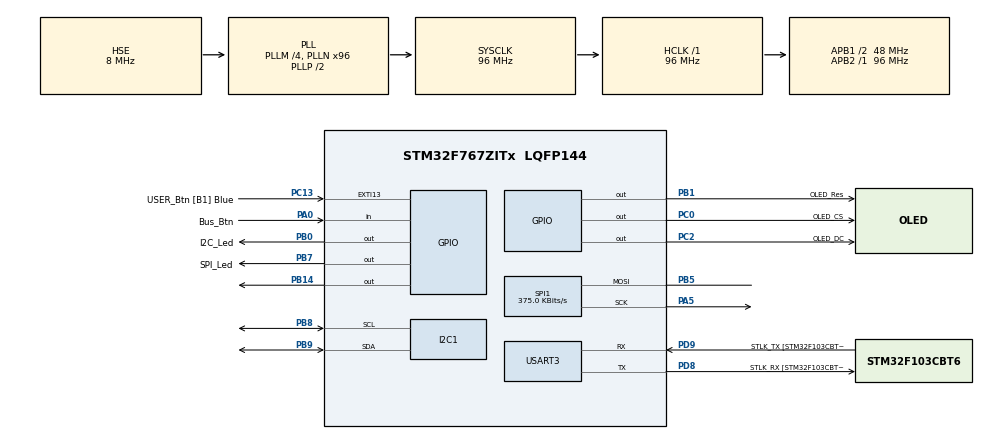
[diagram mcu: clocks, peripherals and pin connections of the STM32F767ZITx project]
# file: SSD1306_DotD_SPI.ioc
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I2C1.Timing=0x20303E5D
Mcu.Family=STM32F7
Mcu.Name=STM32F767ZITx
Mcu.Package=LQFP144
NVIC.PriorityGroup=NVIC_PRIORITYGROUP_4
PA0/WKUP.GPIO_Label=Bus_Btn
PA0/WKUP.Signal=GPIO_Input
PA13.GPIO_Label=TMS
PA13.Signal=SYS_JTMS-SWDIO
PA14.GPIO_Label=TCK
PA14.Signal=SYS_JTCK-SWCLK
PA5.Mode=Simplex_Bidirectional_Master
PA5.Signal=SPI1_SCK
PB0.GPIO_Label=I2C_Led
PB0.Signal=GPIO_Output
PB1.GPIO_Label=OLED_Res
PB1.Signal=GPIO_Output
PB14.Signal=GPIO_Output
PB3.GPIO_Label=SWO
PB3.Signal=SYS_JTDO-SWO
PB5.Mode=Simplex_Bidirectional_Master
PB5.Signal=SPI1_MOSI
PB7.GPIO_Label=SPI_Led
PB7.Signal=GPIO_Output
PB8.GPIO_Pu=GPIO_PULLUP
PB8.Mode=I2C
PB8.Signal=I2C1_SCL
PB9.GPIO_Pu=GPIO_PULLUP
PB9.Mode=I2C
PB9.Signal=I2C1_SDA
PC0.GPIO_Label=OLED_CS
PC0.Signal=GPIO_Output
PC13.GPIO_Label=USER_Btn [B1] Blue
PC13.Signal=GPXTI13
PC14/OSC32_IN.Mode=LSE-External-Oscillator
PC14/OSC32_IN.Signal=RCC_OSC32_IN
PC15/OSC32_OUT.Mode=LSE-External-Oscillator
PC15/OSC32_OUT.Signal=RCC_OSC32_OUT
PC2.GPIO_Label=OLED_DC
PC2.Signal=GPIO_Output
PD8.GPIO_Label=STLK_RX [STM32F103CBT6_PA3]
PD8.Mode=Asynchronous
PD8.Signal=USART3_TX
PD9.GPIO_Label=STLK_TX [STM32F103CBT6_PA2]
PD9.Mode=Asynchronous
PD9.Signal=USART3_RX
PH0/OSC_IN.GPIO_Label=MCO [STM32F103CBT6_PA8]
PH0/OSC_IN.Mode=HSE-External-Clock-Source
PH0/OSC_IN.Signal=RCC_OSC_IN
PH1/OSC_OUT.Mode=HSE-External-Clock-Source
PH1/OSC_OUT.Signal=RCC_OSC_OUT
ProjectManager.HeapSize=0x200
ProjectManager.StackSize=0x400
ProjectManager.TargetToolchain=STM32CubeIDE
RCC.48MHZClocksFreq_Value=24000000
RCC.AHBFreq_Value=96000000
RCC.APB1CLKDivider=RCC_HCLK_DIV2
RCC.APB1Freq_Value=48000000
RCC.APB1TimFreq_Value=96000000
RCC.APB2Freq_Value=96000000
RCC.APB2TimFreq_Value=96000000
RCC.CortexFreq_Value=96000000
RCC.HCLKFreq_Value=96000000
RCC.HSE_VALUE=8000000
RCC.HSI_VALUE=16000000
RCC.PLLM=4
RCC.PLLMUL=RCC_PLL_MUL9
RCC.PLLN=96
RCC.PLLQ=4
RCC.PLLSourceVirtual=RCC_PLLSOURCE_HSE
RCC.PRESCALERUSB=RCC_USBCLKSOURCE_PLL_DIV1_5
RCC.SYSCLKFreq_VALUE=96000000
RCC.SYSCLKSource=RCC_SYSCLKSOURCE_PLLCLK
RCC.SYSCLKSourceVirtual=RCC_SYSCLKSOURCE_PLLCLK
RCC.USBFreq_Value=48000000
RCC.VCOOutputFreq_Value=192000000
SPI1.BaudRatePrescaler=SPI_BAUDRATEPRESCALER_256
SPI1.CalculateBaudRate=375.0 KBits/s
SPI1.DataSize=SPI_DATASIZE_8BIT
SPI1.Direction=SPI_DIRECTION_1LINE
SPI1.Mode=SPI_MODE_MASTER
SPI1.VirtualType=VM_MASTER
USART3.VirtualMode-Asynchronous=VM_ASYNC
board=NUCLEO-F767ZI

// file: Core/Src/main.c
/* USER CODE BEGIN Header */
/**
  ******************************************************************************
  * @file           : main.c
  * @brief          : Main program body
  ******************************************************************************
  * @attention
  *
  * Copyright (c) 2024 STMicroelectronics.
  * All rights reserved.
  *
  * This software is licensed under terms that can be found in the LICENSE file
  * in the root directory of this software component.
  * If no LICENSE file comes with this software, it is provided AS-IS.
  *
  ******************************************************************************
  */
/* USER CODE END Header */
#include "main.h"

/* USER CODE BEGIN Includes */

#include "../../ssd1306/ssd1306.h"
#include "../../ssd1306/ssd1306_tests.h"
#include <stdbool.h>

I2C_HandleTypeDef hi2c1;
SPI_HandleTypeDef hspi1;

/* USER CODE END Includes */

I2C_HandleTypeDef hi2c1;

SPI_HandleTypeDef hspi1;

UART_HandleTypeDef huart3;

void SystemClock_Config(void);
static void MX_GPIO_Init(void);
static void MX_USART3_UART_Init(void);
static void MX_I2C1_Init(void);
static void MX_SPI1_Init(void);

/* USER CODE BEGIN 0 */

void init() {
	HAL_GPIO_WritePin(SPI_Led_GPIO_Port, SPI_Led_Pin, GPIO_PIN_RESET);
	HAL_GPIO_WritePin(I2C_Led_GPIO_Port, I2C_Led_Pin, GPIO_PIN_RESET);

	HAL_GPIO_WritePin(SPI_Led_GPIO_Port, SPI_Led_Pin, GPIO_PIN_SET);

	HAL_Delay(1000); //give display module time to startup

	//ssd1306_Init();
	ssd1306_TestAll();
}

void loop() {
	// Blue button pressed - repeast the test
    if(HAL_GPIO_ReadPin(GPIOC, GPIO_PIN_13) == GPIO_PIN_SET) {
		// Indicate that test is running
		HAL_GPIO_WritePin(SPI_Led_GPIO_Port, SPI_Led_Pin, GPIO_PIN_SET);

		ssd1306_TestAll();

		HAL_GPIO_WritePin(SPI_Led_GPIO_Port, SPI_Led_Pin, GPIO_PIN_RESET);
		HAL_GPIO_WritePin(I2C_Led_GPIO_Port, I2C_Led_Pin, GPIO_PIN_RESET);
    }

	// Blink an LED
	HAL_GPIO_TogglePin(SPI_Led_GPIO_Port, SPI_Led_Pin);
	HAL_Delay(150);
}

/* USER CODE END 0 */

int main(void)
{

  /* MCU Configuration--------------------------------------------------------*/

  /* Reset of all peripherals, Initializes the Flash interface and the Systick. */
  HAL_Init();

  /* Configure the system clock */
  SystemClock_Config();

  /* Initialize all configured peripherals */
  MX_GPIO_Init();
  MX_USART3_UART_Init();
  MX_I2C1_Init();
  MX_SPI1_Init();

  /* Infinite loop */
  /* USER CODE BEGIN WHILE */

  init();
  while (1)
  {
	  loop();

    /* USER CODE END WHILE */

  }
}

void SystemClock_Config(void)
{
  RCC_OscInitTypeDef RCC_OscInitStruct = {0};
  RCC_ClkInitTypeDef RCC_ClkInitStruct = {0};

  /** Configure LSE Drive Capability
  */
  HAL_PWR_EnableBkUpAccess();

  /** Configure the main internal regulator output voltage
  */
  __HAL_RCC_PWR_CLK_ENABLE();
  __HAL_PWR_VOLTAGESCALING_CONFIG(PWR_REGULATOR_VOLTAGE_SCALE3);

  /** Initializes the RCC Oscillators according to the specified parameters
  * in the RCC_OscInitTypeDef structure.
  */
  RCC_OscInitStruct.OscillatorType = RCC_OSCILLATORTYPE_HSE;
  RCC_OscInitStruct.HSEState = RCC_HSE_BYPASS;
  RCC_OscInitStruct.PLL.PLLState = RCC_PLL_ON;
  RCC_OscInitStruct.PLL.PLLSource = RCC_PLLSOURCE_HSE;
  RCC_OscInitStruct.PLL.PLLM = 4;
  RCC_OscInitStruct.PLL.PLLN = 96;
  RCC_OscInitStruct.PLL.PLLP = RCC_PLLP_DIV2;
  RCC_OscInitStruct.PLL.PLLQ = 4;
  RCC_OscInitStruct.PLL.PLLR = 2;
  if (HAL_RCC_OscConfig(&RCC_OscInitStruct) != HAL_OK)
  {
    Error_Handler();
  }

  /** Activate the Over-Drive mode
  */
  if (HAL_PWREx_EnableOverDrive() != HAL_OK)
  {
    Error_Handler();
  }

  /** Initializes the CPU, AHB and APB buses clocks
  */
  RCC_ClkInitStruct.ClockType = RCC_CLOCKTYPE_HCLK|RCC_CLOCKTYPE_SYSCLK
                              |RCC_CLOCKTYPE_PCLK1|RCC_CLOCKTYPE_PCLK2;
  RCC_ClkInitStruct.SYSCLKSource = RCC_SYSCLKSOURCE_PLLCLK;
  RCC_ClkInitStruct.AHBCLKDivider = RCC_SYSCLK_DIV1;
  RCC_ClkInitStruct.APB1CLKDivider = RCC_HCLK_DIV2;
  RCC_ClkInitStruct.APB2CLKDivider = RCC_HCLK_DIV1;

  if (HAL_RCC_ClockConfig(&RCC_ClkInitStruct, FLASH_LATENCY_3) != HAL_OK)
  {
    Error_Handler();
  }
}

static void MX_I2C1_Init(void)
{

  hi2c1.Instance = I2C1;
  hi2c1.Init.Timing = 0x20303E5D;
  hi2c1.Init.OwnAddress1 = 0;
  hi2c1.Init.AddressingMode = I2C_ADDRESSINGMODE_7BIT;
  hi2c1.Init.DualAddressMode = I2C_DUALADDRESS_DISABLE;
  hi2c1.Init.OwnAddress2 = 0;
  hi2c1.Init.OwnAddress2Masks = I2C_OA2_NOMASK;
  hi2c1.Init.GeneralCallMode = I2C_GENERALCALL_DISABLE;
  hi2c1.Init.NoStretchMode = I2C_NOSTRETCH_DISABLE;
  if (HAL_I2C_Init(&hi2c1) != HAL_OK)
  {
    Error_Handler();
  }

  /** Configure Analogue filter
  */
  if (HAL_I2CEx_ConfigAnalogFilter(&hi2c1, I2C_ANALOGFILTER_ENABLE) != HAL_OK)
  {
    Error_Handler();
  }

  /** Configure Digital filter
  */
  if (HAL_I2CEx_ConfigDigitalFilter(&hi2c1, 0) != HAL_OK)
  {
    Error_Handler();
  }

}

static void MX_SPI1_Init(void)
{

  /* SPI1 parameter configuration*/
  hspi1.Instance = SPI1;
  hspi1.Init.Mode = SPI_MODE_MASTER;
  hspi1.Init.Direction = SPI_DIRECTION_1LINE;
  hspi1.Init.DataSize = SPI_DATASIZE_8BIT;
  hspi1.Init.CLKPolarity = SPI_POLARITY_LOW;
  hspi1.Init.CLKPhase = SPI_PHASE_1EDGE;
  hspi1.Init.NSS = SPI_NSS_SOFT;
  hspi1.Init.BaudRatePrescaler = SPI_BAUDRATEPRESCALER_256;
  hspi1.Init.FirstBit = SPI_FIRSTBIT_MSB;
  hspi1.Init.TIMode = SPI_TIMODE_DISABLE;
  hspi1.Init.CRCCalculation = SPI_CRCCALCULATION_DISABLE;
  hspi1.Init.CRCPolynomial = 7;
  hspi1.Init.CRCLength = SPI_CRC_LENGTH_DATASIZE;
  hspi1.Init.NSSPMode = SPI_NSS_PULSE_ENABLE;
  if (HAL_SPI_Init(&hspi1) != HAL_OK)
  {
    Error_Handler();
  }

}

static void MX_USART3_UART_Init(void)
{

  huart3.Instance = USART3;
  huart3.Init.BaudRate = 115200;
  huart3.Init.WordLength = UART_WORDLENGTH_8B;
  huart3.Init.StopBits = UART_STOPBITS_1;
  huart3.Init.Parity = UART_PARITY_NONE;
  huart3.Init.Mode = UART_MODE_TX_RX;
  huart3.Init.HwFlowCtl = UART_HWCONTROL_NONE;
  huart3.Init.OverSampling = UART_OVERSAMPLING_16;
  huart3.Init.OneBitSampling = UART_ONE_BIT_SAMPLE_DISABLE;
  huart3.AdvancedInit.AdvFeatureInit = UART_ADVFEATURE_NO_INIT;
  if (HAL_UART_Init(&huart3) != HAL_OK)
  {
    Error_Handler();
  }

}

static void MX_GPIO_Init(void)
{
  GPIO_InitTypeDef GPIO_InitStruct = {0};

  /* GPIO Ports Clock Enable */
  __HAL_RCC_GPIOC_CLK_ENABLE();
  __HAL_RCC_GPIOH_CLK_ENABLE();
  __HAL_RCC_GPIOA_CLK_ENABLE();
  __HAL_RCC_GPIOB_CLK_ENABLE();
  __HAL_RCC_GPIOD_CLK_ENABLE();

  /*Configure GPIO pin Output Level */
  HAL_GPIO_WritePin(GPIOC, OLED_CS_Pin|OLED_DC_Pin, GPIO_PIN_RESET);

  /*Configure GPIO pin Output Level */
  HAL_GPIO_WritePin(GPIOB, I2C_Led_Pin|OLED_Res_Pin|GPIO_PIN_14|SPI_Led_Pin, GPIO_PIN_RESET);

  /*Configure GPIO pin : USER_Btn_Blue_Pin */
  GPIO_InitStruct.Pin = USER_Btn_Blue_Pin;
  GPIO_InitStruct.Mode = GPIO_MODE_IT_RISING;
  GPIO_InitStruct.Pull = GPIO_NOPULL;
  HAL_GPIO_Init(USER_Btn_Blue_GPIO_Port, &GPIO_InitStruct);

  /*Configure GPIO pins : OLED_CS_Pin OLED_DC_Pin */
  GPIO_InitStruct.Pin = OLED_CS_Pin|OLED_DC_Pin;
  GPIO_InitStruct.Mode = GPIO_MODE_OUTPUT_PP;
  GPIO_InitStruct.Pull = GPIO_NOPULL;
  GPIO_InitStruct.Speed = GPIO_SPEED_FREQ_LOW;
  HAL_GPIO_Init(GPIOC, &GPIO_InitStruct);

  /*Configure GPIO pin : Bus_Btn_Pin */
  GPIO_InitStruct.Pin = Bus_Btn_Pin;
  GPIO_InitStruct.Mode = GPIO_MODE_INPUT;
  GPIO_InitStruct.Pull = GPIO_NOPULL;
  HAL_GPIO_Init(Bus_Btn_GPIO_Port, &GPIO_InitStruct);

  /*Configure GPIO pins : I2C_Led_Pin OLED_Res_Pin PB14 SPI_Led_Pin */
  GPIO_InitStruct.Pin = I2C_Led_Pin|OLED_Res_Pin|GPIO_PIN_14|SPI_Led_Pin;
  GPIO_InitStruct.Mode = GPIO_MODE_OUTPUT_PP;
  GPIO_InitStruct.Pull = GPIO_NOPULL;
  GPIO_InitStruct.Speed = GPIO_SPEED_FREQ_LOW;
  HAL_GPIO_Init(GPIOB, &GPIO_InitStruct);

}

void Error_Handler(void)
{
  __disable_irq();
  while (1)
  {
  }
}
